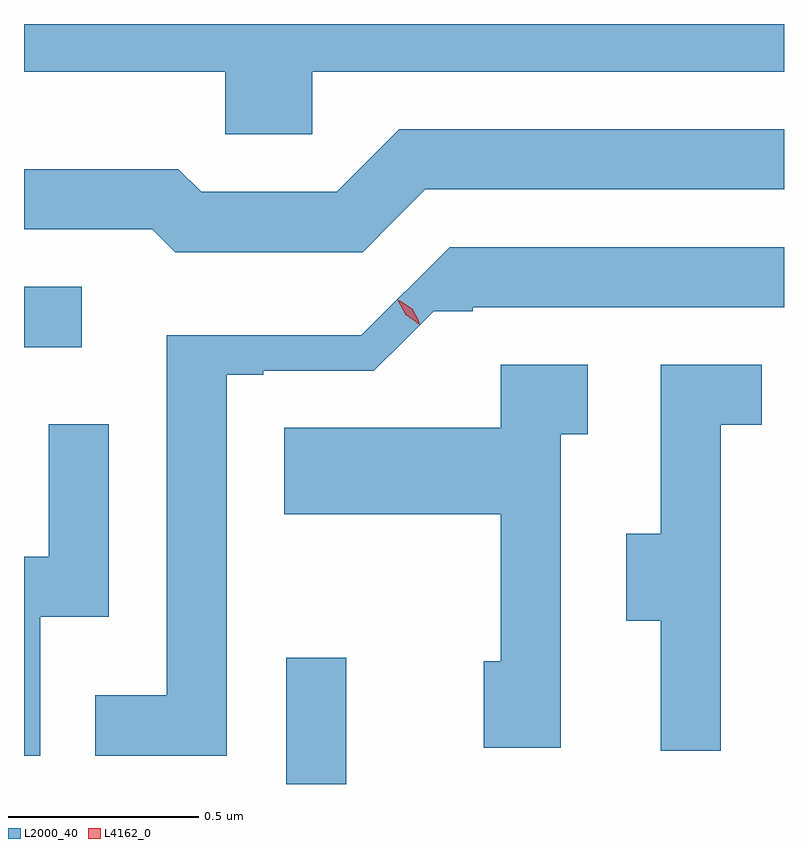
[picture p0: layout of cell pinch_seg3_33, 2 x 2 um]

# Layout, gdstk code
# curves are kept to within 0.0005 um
import gdstk
lib = gdstk.Library(unit=1e-6, precision=1e-09)
def R(c, l, rs):  # rectangles x0, y0, x1, y1
    for r in rs: c.add(gdstk.rectangle(r[:2], r[2:], *l))
def P(c, l, *ps):  # polygons
    for p in ps: c.add(gdstk.Polygon(p, *l))
L2000_40 = (2000, 40)
L4162_0 = (4162, 0)

pinch_seg3_33 = lib.new_cell('pinch_seg3_33')
R(pinch_seg3_33, L2000_40, [(1881.346,1188.521,1881.504,1188.853), (1880.656,1189.671,1880.808,1189.829)])
P(pinch_seg3_33, L2000_40, [(1881.414,1190.396),(1882.656,1190.396),(1882.656,1190.521),(1880.656,1190.521),(1880.656,1190.396),(1881.186,1190.396),(1881.186,1190.231),(1881.414,1190.231)],
  [(1881.638,1190.013),(1881.712,1190.086),(1882.656,1190.086),(1882.656,1190.244),(1881.644,1190.244),(1881.479,1190.079),(1881.122,1190.079),(1881.062,1190.139),(1880.656,1190.139),(1880.656,1189.981),(1880.994,1189.981),(1881.054,1189.921),(1881.547,1189.921)],
  [(1881.189,1189.598),(1881.285,1189.598),(1881.285,1189.609),(1881.577,1189.609),(1881.734,1189.765),(1881.837,1189.765),(1881.837,1189.776),(1882.656,1189.776),(1882.656,1189.934),(1881.776,1189.934),(1881.543,1189.702),(1881.031,1189.702),(1881.031,1188.754),(1880.843,1188.754),(1880.843,1188.596),(1881.189,1188.596)],
  [(1882.069,1189.441),(1882.139,1189.441),(1882.139,1189.624),(1881.911,1189.624),(1881.911,1189.459),(1881.341,1189.459),(1881.341,1189.231),(1881.911,1189.231),(1881.911,1188.844),(1881.866,1188.844),(1881.866,1188.616),(1882.069,1188.616)],
  [(1882.489,1189.466),(1882.598,1189.466),(1882.598,1189.624),(1882.331,1189.624),(1882.331,1189.179),(1882.241,1189.179),(1882.241,1188.951),(1882.331,1188.951),(1882.331,1188.608),(1882.489,1188.608)],
  [(1880.699,1188.961),(1880.879,1188.961),(1880.879,1189.468),(1880.721,1189.468),(1880.721,1189.119),(1880.656,1189.119),(1880.656,1188.596),(1880.699,1188.596)])
P(pinch_seg3_33, L4162_0, [(1881.697,1189.73),(1881.661,1189.756),(1881.639,1189.794),(1881.639,1189.795),(1881.639,1189.795),(1881.676,1189.77),(1881.698,1189.731),(1881.698,1189.73)],
  [(1881.695,1189.737),(1881.663,1189.758),(1881.645,1189.792),(1881.645,1189.793),(1881.646,1189.793),(1881.678,1189.772),(1881.696,1189.738),(1881.696,1189.737)])

lib.write_gds('pinch_seg3_33.gds')
